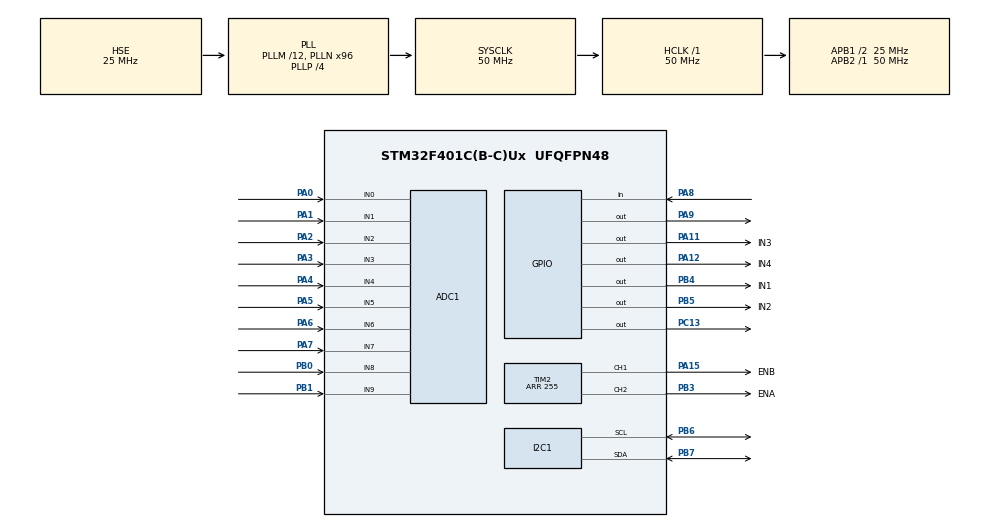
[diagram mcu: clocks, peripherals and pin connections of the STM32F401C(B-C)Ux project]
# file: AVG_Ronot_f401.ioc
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ADC1.Channel-0\#ChannelRegularConversion=ADC_CHANNEL_0
ADC1.Channel-1\#ChannelRegularConversion=ADC_CHANNEL_1
ADC1.Channel-2\#ChannelRegularConversion=ADC_CHANNEL_2
ADC1.Channel-3\#ChannelRegularConversion=ADC_CHANNEL_3
ADC1.Channel-4\#ChannelRegularConversion=ADC_CHANNEL_4
ADC1.Channel-5\#ChannelRegularConversion=ADC_CHANNEL_5
ADC1.Channel-6\#ChannelRegularConversion=ADC_CHANNEL_6
ADC1.Channel-7\#ChannelRegularConversion=ADC_CHANNEL_7
ADC1.Channel-8\#ChannelRegularConversion=ADC_CHANNEL_8
ADC1.Channel-9\#ChannelRegularConversion=ADC_CHANNEL_9
ADC1.ClockPrescaler=ADC_CLOCK_SYNC_PCLK_DIV4
ADC1.ContinuousConvMode=ENABLE
ADC1.DMAContinuousRequests=ENABLE
ADC1.NbrOfConversion=10
ADC1.NbrOfConversionFlag=1
ADC1.Rank-0\#ChannelRegularConversion=1
ADC1.Rank-1\#ChannelRegularConversion=2
ADC1.Rank-2\#ChannelRegularConversion=3
ADC1.Rank-3\#ChannelRegularConversion=4
ADC1.Rank-4\#ChannelRegularConversion=5
ADC1.Rank-5\#ChannelRegularConversion=6
ADC1.Rank-6\#ChannelRegularConversion=7
ADC1.Rank-7\#ChannelRegularConversion=8
ADC1.Rank-8\#ChannelRegularConversion=9
ADC1.Rank-9\#ChannelRegularConversion=10
ADC1.SamplingTime-0\#ChannelRegularConversion=ADC_SAMPLETIME_3CYCLES
ADC1.SamplingTime-1\#ChannelRegularConversion=ADC_SAMPLETIME_3CYCLES
ADC1.SamplingTime-2\#ChannelRegularConversion=ADC_SAMPLETIME_3CYCLES
ADC1.SamplingTime-3\#ChannelRegularConversion=ADC_SAMPLETIME_3CYCLES
ADC1.SamplingTime-4\#ChannelRegularConversion=ADC_SAMPLETIME_3CYCLES
ADC1.SamplingTime-5\#ChannelRegularConversion=ADC_SAMPLETIME_3CYCLES
ADC1.SamplingTime-6\#ChannelRegularConversion=ADC_SAMPLETIME_3CYCLES
ADC1.SamplingTime-7\#ChannelRegularConversion=ADC_SAMPLETIME_3CYCLES
ADC1.SamplingTime-8\#ChannelRegularConversion=ADC_SAMPLETIME_3CYCLES
ADC1.SamplingTime-9\#ChannelRegularConversion=ADC_SAMPLETIME_3CYCLES
ADC1.ScanConvMode=ENABLE
ADC1.master=1
Dma.ADC1.0.Direction=DMA_PERIPH_TO_MEMORY
Dma.ADC1.0.FIFOMode=DMA_FIFOMODE_DISABLE
Dma.ADC1.0.Instance=DMA2_Stream0
Dma.ADC1.0.MemDataAlignment=DMA_MDATAALIGN_HALFWORD
Dma.ADC1.0.MemInc=DMA_MINC_ENABLE
Dma.ADC1.0.Mode=DMA_CIRCULAR
Dma.ADC1.0.PeriphDataAlignment=DMA_PDATAALIGN_HALFWORD
Dma.ADC1.0.PeriphInc=DMA_PINC_DISABLE
Dma.ADC1.0.Priority=DMA_PRIORITY_LOW
Dma.Request0=ADC1
I2C1.I2C_Mode=I2C_Fast
Mcu.Family=STM32F4
Mcu.Name=STM32F401C(B-C)Ux
Mcu.Package=UFQFPN48
NVIC.DMA2_Stream0_IRQn=true\:0\:0\:false\:false\:true\:false\:true\:true
NVIC.PriorityGroup=NVIC_PRIORITYGROUP_4
PA0-WKUP.Signal=ADCx_IN0
PA1.Signal=ADCx_IN1
PA11.GPIO_Label=IN3
PA11.Signal=GPIO_Output
PA12.GPIO_Label=IN4
PA12.Signal=GPIO_Output
PA15.GPIO_Label=ENB
PA15.Signal=S_TIM2_CH1_ETR
PA2.Signal=ADCx_IN2
PA3.Signal=ADCx_IN3
PA4.Signal=ADCx_IN4
PA5.Signal=ADCx_IN5
PA6.Signal=ADCx_IN6
PA7.Signal=ADCx_IN7
PA8.Signal=GPIO_Input
PA9.Signal=GPIO_Output
PB0.Signal=ADCx_IN8
PB1.Signal=ADCx_IN9
PB3.GPIO_Label=ENA
PB3.Signal=S_TIM2_CH2
PB4.GPIO_Label=IN1
PB4.Signal=GPIO_Output
PB5.GPIO_Label=IN2
PB5.Signal=GPIO_Output
PB6.Mode=I2C
PB6.Signal=I2C1_SCL
PB7.Mode=I2C
PB7.Signal=I2C1_SDA
PC13-ANTI_TAMP.Signal=GPIO_Output
PH0\ -\ OSC_IN.Mode=HSE-External-Oscillator
PH0\ -\ OSC_IN.Signal=RCC_OSC_IN
PH1\ -\ OSC_OUT.Mode=HSE-External-Oscillator
PH1\ -\ OSC_OUT.Signal=RCC_OSC_OUT
ProjectManager.HeapSize=0x200
ProjectManager.StackSize=0x400
ProjectManager.TargetToolchain=STM32CubeIDE
RCC.48MHZClocksFreq_Value=50000000
RCC.AHBFreq_Value=50000000
RCC.APB1CLKDivider=RCC_HCLK_DIV2
RCC.APB1Freq_Value=25000000
RCC.APB1TimFreq_Value=50000000
RCC.APB2Freq_Value=50000000
RCC.APB2TimFreq_Value=50000000
RCC.CortexFreq_Value=50000000
RCC.HCLKFreq_Value=50000000
RCC.HSE_VALUE=25000000
RCC.HSI_VALUE=16000000
RCC.LSE_VALUE=32768
RCC.PLLM=12
RCC.PLLN=96
RCC.PLLP=RCC_PLLP_DIV4
RCC.PLLSourceVirtual=RCC_PLLSOURCE_HSE
RCC.SYSCLKFreq_VALUE=50000000
RCC.SYSCLKSource=RCC_SYSCLKSOURCE_PLLCLK
RCC.VCOOutputFreq_Value=200000000
SH.ADCx_IN0.0=ADC1_IN0,IN0
SH.ADCx_IN1.0=ADC1_IN1,IN1
SH.ADCx_IN2.0=ADC1_IN2,IN2
SH.ADCx_IN3.0=ADC1_IN3,IN3
SH.ADCx_IN4.0=ADC1_IN4,IN4
SH.ADCx_IN5.0=ADC1_IN5,IN5
SH.ADCx_IN6.0=ADC1_IN6,IN6
SH.ADCx_IN7.0=ADC1_IN7,IN7
SH.ADCx_IN8.0=ADC1_IN8,IN8
SH.ADCx_IN9.0=ADC1_IN9,IN9
SH.S_TIM2_CH1_ETR.0=TIM2_CH1,PWM Generation1 CH1
SH.S_TIM2_CH2.0=TIM2_CH2,PWM Generation2 CH2
TIM1.Prescaler=49
TIM2.AutoReloadPreload=TIM_AUTORELOAD_PRELOAD_ENABLE
TIM2.Channel-PWM\ Generation1\ CH1=TIM_CHANNEL_1
TIM2.Channel-PWM\ Generation2\ CH2=TIM_CHANNEL_2
TIM2.Period=255
VP_TIM1_VS_ClockSourceINT.Mode=Internal
VP_TIM2_VS_ClockSourceINT.Mode=Internal
board=custom

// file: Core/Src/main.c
/* USER CODE BEGIN Header */
/**
  ******************************************************************************
  * @file           : main.c
  * @brief          : Main program body
  ******************************************************************************
  * @attention
  *
  * Copyright (c) 2023 STMicroelectronics.
  * All rights reserved.
  *
  * This software is licensed under terms that can be found in the LICENSE file
  * in the root directory of this software component.
  * If no LICENSE file comes with this software, it is provided AS-IS.
  *
  ******************************************************************************
  */
/* USER CODE END Header */
#include "main.h"

/* USER CODE BEGIN Includes */
#include "string.h"
#include "ssd1306.h"
#include "fonts.h"
#include "test.h"
/* USER CODE END Includes */

ADC_HandleTypeDef hadc1;
DMA_HandleTypeDef hdma_adc1;

I2C_HandleTypeDef hi2c1;

TIM_HandleTypeDef htim1;
TIM_HandleTypeDef htim2;

/* USER CODE BEGIN PV */
volatile uint16_t sensorValuesDMA[10];
const int sensorValuesDMA_ChannelCount = sizeof(sensorValuesDMA)/sizeof(sensorValuesDMA[0]);

uint16_t max_sensor_val[10];
uint16_t min_sensor_val[10];

const uint8_t sensorNumber = 10;
uint16_t sensorCalibratedValues[10];

int _lastValue;
uint16_t lineValue;

uint8_t baseSpeed = 150;
int P, I, D;

float Kp = 0.05;
float Ki = 0.00001;
float Kd = 0.8;

int motorCheckSpeedA;
int motorCheckSpeedB;

int lastError = 0;

#define TRIG_PIN GPIO_PIN_9
#define TRIG_PORT GPIOA
#define ECHO_PIN GPIO_PIN_8
#define ECHO_PORT GPIOA
uint32_t pMillis;
uint32_t Value1 = 0;
uint32_t Value2 = 0;
uint16_t Distance  = 0;  // cm

/* USER CODE END PV */

void SystemClock_Config(void);
static void MX_GPIO_Init(void);
static void MX_DMA_Init(void);
static void MX_ADC1_Init(void);
static void MX_TIM2_Init(void);
static void MX_TIM1_Init(void);
static void MX_I2C1_Init(void);

/* USER CODE BEGIN 0 */
uint8_t commandBuffer[64];

uint8_t irSensorTxBuffer[130];
uint8_t lcd_text_buffer[50];
uint16_t lcd_buffer_length;

int lengthIrSensorTxBuffer;

void sensorCalibration(volatile uint16_t *sensor_values,
				  	   uint16_t *sensor_max_values,
					   uint16_t *sensor_min_values,
					   uint8_t   sensor_numbers,
					   uint16_t  cycle){
	int i;
	uint16_t max_temp_sensor_val[10];
	uint16_t min_temp_sensor_val[10];

	for(int a = 0; a < sensor_numbers; a++){
		max_temp_sensor_val[a] = 0;
		min_temp_sensor_val[a] = 4096;

	}

	int j;
	for(j = 0; j< cycle ;j++){
		for(i = 0; i< sensor_numbers; i++){
			if(j==0 || max_temp_sensor_val[i] < sensor_values[i]){
				max_temp_sensor_val[i] = sensor_values[i];
			}

			if(j==0 || min_temp_sensor_val[i] > sensor_values[i]){
				min_temp_sensor_val[i] = sensor_values[i];
			}
		}
	}

	for(i = 0; i < sensor_numbers; i++){
		if(min_temp_sensor_val[i] > sensor_max_values[i]){
			sensor_max_values[i] = min_temp_sensor_val[i];
		}
		if(max_temp_sensor_val[i] < sensor_min_values[i]){
			sensor_min_values[i] = max_temp_sensor_val[i];
		}
	}

}

int map(int x, int in_min, int in_max, int out_min, int out_max)
{
  return (x - in_min) * (out_max - out_min) / (in_max - in_min) + out_min;
}

void readCalibrated(volatile uint16_t *sensor_values,
					uint16_t *sensor_calibrated_values,
					uint16_t *sensor_max_values,
					uint16_t *sensor_min_values,
					uint8_t   sensor_numbers){
	int i;

	for(i = 0; i < sensor_numbers; i++){
		uint16_t calmin, calmax;
		uint16_t denominator;

		calmax = sensor_max_values[i];
		calmin = sensor_min_values[i];

		denominator = calmax - calmin;

		signed int x = 0;
		if(denominator != 0){
			x = (((signed long)sensor_values[i]) - calmin) * 1000/denominator;

		}

		if(x < 0){
			x = 0;
		}
		else if(x>1000){
			x = 1000;
		}

		sensor_calibrated_values[i] = x;
	}

}

int read_ir_line(volatile uint16_t *sensor_values,
				 uint16_t *sensor_calibrated_values,
				 uint16_t *sensor_max_values,
				 uint16_t *sensor_min_values,
				 uint8_t   sensor_numbers,
				 uint8_t   white_line){
	uint8_t i, on_line = 0;
	unsigned long avg;
	unsigned int sum;

	readCalibrated(sensor_values,
			  	   sensor_calibrated_values,
				   sensor_max_values,
				   sensor_min_values,
				   sensor_numbers);

	avg = 0;
	sum = 0;

	for(i = 0; i < sensor_numbers; i++){
		int value = sensor_calibrated_values[i];
		if(white_line){
			value = 1000-value;
		}

		if(value > 400){
			on_line = 1;
		}

		if(value > 50){
			avg += (long)(value) * (i * 1000);
			sum += value;
		}
	}

	if(!on_line){
		if(_lastValue < (sensor_numbers - 1) * 1000/2){
			return 0;
		}
		else{
			return (sensor_numbers - 1)*1000;
		}
	}

	_lastValue = avg/sum;

	return _lastValue;

}

void PID_control(volatile uint16_t *sensor_values,
						  uint16_t *sensor_calibrated_values,
						  uint16_t *sensor_max_values,
						  uint16_t *sensor_min_values,
						  uint8_t   sensor_numbers,
						  uint8_t   white_line,
						  int mSpeedA,
						  int mSpeedB){

	lineValue = read_ir_line(sensor_values, sensor_calibrated_values, sensor_max_values, sensor_min_values, sensor_numbers, white_line);
	int error = 4500 - lineValue;

	P = error;
	I = error + I;
	D = error - lastError;
	lastError = error;

	int motorSpeedChange = P*Kp + I*Ki + D*Kd;

	int motorSpeedA = baseSpeed + motorSpeedChange;
	int motorSpeedB = baseSpeed - motorSpeedChange;
	mSpeedA = motorSpeedA;
	mSpeedB = motorSpeedB;

	motor_forward(motorSpeedA, motorSpeedB);

}

void motor_forward(int enableA, int enableB){

	if(enableA < 0){
		enableA = 0;
	}
	if(enableA > 255){
		enableA = 255;
	}
	if(enableB < 0){
		enableB = 0;
	}
	if(enableB > 255){
		enableB = 255;
	}

	//LEFT
	HAL_GPIO_WritePin(IN1_GPIO_Port, IN1_Pin, GPIO_PIN_RESET);
	HAL_GPIO_WritePin(IN2_GPIO_Port, IN2_Pin, GPIO_PIN_SET);

	//RIGHT
	HAL_GPIO_WritePin(IN3_GPIO_Port, IN3_Pin, GPIO_PIN_RESET);
	HAL_GPIO_WritePin(IN4_GPIO_Port, IN4_Pin, GPIO_PIN_SET);

	//Right
	__HAL_TIM_SET_COMPARE(&htim2, TIM_CHANNEL_1, enableA);

	//Left
	__HAL_TIM_SET_COMPARE(&htim2, TIM_CHANNEL_2, enableB);
}

void motor_sharp_left(uint8_t speed){
	//LEFT
	HAL_GPIO_WritePin(IN1_GPIO_Port, IN1_Pin, GPIO_PIN_SET);
	HAL_GPIO_WritePin(IN2_GPIO_Port, IN2_Pin, GPIO_PIN_RESET);

	//RIGHT
	HAL_GPIO_WritePin(IN3_GPIO_Port, IN3_Pin, GPIO_PIN_RESET);
	HAL_GPIO_WritePin(IN4_GPIO_Port, IN4_Pin, GPIO_PIN_SET);

	//Right
	__HAL_TIM_SET_COMPARE(&htim2, TIM_CHANNEL_1, speed);

	//Left
	__HAL_TIM_SET_COMPARE(&htim2, TIM_CHANNEL_2, speed);
}

void motor_sharp_right(uint8_t speed){
	//LEFT
	HAL_GPIO_WritePin(IN1_GPIO_Port, IN1_Pin, GPIO_PIN_RESET);
	HAL_GPIO_WritePin(IN2_GPIO_Port, IN2_Pin, GPIO_PIN_SET);

	//RIGHT
	HAL_GPIO_WritePin(IN3_GPIO_Port, IN3_Pin, GPIO_PIN_SET);
	HAL_GPIO_WritePin(IN4_GPIO_Port, IN4_Pin, GPIO_PIN_RESET);

	//Right
	__HAL_TIM_SET_COMPARE(&htim2, TIM_CHANNEL_1, speed);

	//Left
	__HAL_TIM_SET_COMPARE(&htim2, TIM_CHANNEL_2, speed);
}

void calibrationSequence(){

	 HAL_GPIO_WritePin(GPIOC, GPIO_PIN_13, GPIO_PIN_RESET);
	 for(int a = 0; a<100; a++){
		  sensorCalibration(sensorValuesDMA,
							max_sensor_val,
							min_sensor_val,
							sensorNumber, 10);

		  if(a >= 0 && a < 25){
			  motor_sharp_right(120);
		  }
		  if(a >= 25 && a < 50){
			  motor_sharp_left(120);
		  }
		  if(a >= 50 && a < 75){
			  motor_sharp_right(120);
		  }
		  if(a >= 75 && a < 100){
			  motor_sharp_left(120);
		  }
		  HAL_Delay(50);
	 }
	 //readCalibrated(sensorValuesDMA, sensorCalibratedValues, max_sensor_val, min_sensor_val, sensorNumber);
	 while(sensorValuesDMA[4] > 2500){
		  motor_sharp_right(100);
	 }
	 HAL_GPIO_WritePin(GPIOC, GPIO_PIN_13, GPIO_PIN_SET);
}

/* USER CODE END 0 */

int main(void)
{

  /* MCU Configuration--------------------------------------------------------*/

  /* Reset of all peripherals, Initializes the Flash interface and the Systick. */
  HAL_Init();

  /* Configure the system clock */
  SystemClock_Config();

  /* Initialize all configured peripherals */
  MX_GPIO_Init();
  MX_DMA_Init();
  MX_ADC1_Init();
  MX_TIM2_Init();
  MX_TIM1_Init();
  MX_I2C1_Init();
  /* USER CODE BEGIN 2 */

  SSD1306_Init();

  HAL_TIM_PWM_Start(&htim2, TIM_CHANNEL_1);
  HAL_TIM_PWM_Start(&htim2, TIM_CHANNEL_2);

  HAL_ADC_Start_DMA(&hadc1, (uint16_t*)sensorValuesDMA, sensorValuesDMA_ChannelCount);

  HAL_TIM_Base_Start(&htim1);
  HAL_GPIO_WritePin(TRIG_PORT, TRIG_PIN, GPIO_PIN_RESET);  // pull the TRIG pin low

  //calibrationSequence();
  /* USER CODE END 2 */

  /* Infinite loop */
  /* USER CODE BEGIN WHILE */
  uint8_t test_str[60];
  while (1)
  {
	  HAL_GPIO_WritePin(TRIG_PORT, TRIG_PIN, GPIO_PIN_SET);  // pull the TRIG pin HIGH
	  __HAL_TIM_SET_COUNTER(&htim1, 0);
	  while (__HAL_TIM_GET_COUNTER (&htim1) < 10);  // wait for 10 us
	  HAL_GPIO_WritePin(TRIG_PORT, TRIG_PIN, GPIO_PIN_RESET);  // pull the TRIG pin low

	  pMillis = HAL_GetTick(); // used this to avoid infinite while loop  (for timeout)
	  // wait for the echo pin to go high
	  while (!(HAL_GPIO_ReadPin (ECHO_PORT, ECHO_PIN)) && pMillis + 10 >  HAL_GetTick());
	  Value1 = __HAL_TIM_GET_COUNTER (&htim1);

	  pMillis = HAL_GetTick(); // used this to avoid infinite while loop (for timeout)
	  // wait for the echo pin to go low
	  while ((HAL_GPIO_ReadPin (ECHO_PORT, ECHO_PIN)) && pMillis + 50 > HAL_GetTick());
	  Value2 = __HAL_TIM_GET_COUNTER (&htim1);

	  Distance = (Value2-Value1)* 0.034/2;

	  SSD1306_Fill(0);
	  sprintf(test_str, "Dis: %dcm", Distance);
	  SSD1306_GotoXY (10,10); // goto 10, 10
	  SSD1306_Puts (test_str, &Font_11x18, 1); // print Hello
	  SSD1306_UpdateScreen(); // update screen

	  HAL_Delay(50);

    /* USER CODE END WHILE */

  }
}

void SystemClock_Config(void)
{
  RCC_OscInitTypeDef RCC_OscInitStruct = {0};
  RCC_ClkInitTypeDef RCC_ClkInitStruct = {0};

  /** Configure the main internal regulator output voltage
  */
  __HAL_RCC_PWR_CLK_ENABLE();
  __HAL_PWR_VOLTAGESCALING_CONFIG(PWR_REGULATOR_VOLTAGE_SCALE2);

  /** Initializes the RCC Oscillators according to the specified parameters
  * in the RCC_OscInitTypeDef structure.
  */
  RCC_OscInitStruct.OscillatorType = RCC_OSCILLATORTYPE_HSE;
  RCC_OscInitStruct.HSEState = RCC_HSE_ON;
  RCC_OscInitStruct.PLL.PLLState = RCC_PLL_ON;
  RCC_OscInitStruct.PLL.PLLSource = RCC_PLLSOURCE_HSE;
  RCC_OscInitStruct.PLL.PLLM = 12;
  RCC_OscInitStruct.PLL.PLLN = 96;
  RCC_OscInitStruct.PLL.PLLP = RCC_PLLP_DIV4;
  RCC_OscInitStruct.PLL.PLLQ = 4;
  if (HAL_RCC_OscConfig(&RCC_OscInitStruct) != HAL_OK)
  {
    Error_Handler();
  }

  /** Initializes the CPU, AHB and APB buses clocks
  */
  RCC_ClkInitStruct.ClockType = RCC_CLOCKTYPE_HCLK|RCC_CLOCKTYPE_SYSCLK
                              |RCC_CLOCKTYPE_PCLK1|RCC_CLOCKTYPE_PCLK2;
  RCC_ClkInitStruct.SYSCLKSource = RCC_SYSCLKSOURCE_PLLCLK;
  RCC_ClkInitStruct.AHBCLKDivider = RCC_SYSCLK_DIV1;
  RCC_ClkInitStruct.APB1CLKDivider = RCC_HCLK_DIV2;
  RCC_ClkInitStruct.APB2CLKDivider = RCC_HCLK_DIV1;

  if (HAL_RCC_ClockConfig(&RCC_ClkInitStruct, FLASH_LATENCY_1) != HAL_OK)
  {
    Error_Handler();
  }
}

static void MX_ADC1_Init(void)
{

  ADC_ChannelConfTypeDef sConfig = {0};

  /** Configure the global features of the ADC (Clock, Resolution, Data Alignment and number of conversion)
  */
  hadc1.Instance = ADC1;
  hadc1.Init.ClockPrescaler = ADC_CLOCK_SYNC_PCLK_DIV4;
  hadc1.Init.Resolution = ADC_RESOLUTION_12B;
  hadc1.Init.ScanConvMode = ENABLE;
  hadc1.Init.ContinuousConvMode = ENABLE;
  hadc1.Init.DiscontinuousConvMode = DISABLE;
  hadc1.Init.ExternalTrigConvEdge = ADC_EXTERNALTRIGCONVEDGE_NONE;
  hadc1.Init.ExternalTrigConv = ADC_SOFTWARE_START;
  hadc1.Init.DataAlign = ADC_DATAALIGN_RIGHT;
  hadc1.Init.NbrOfConversion = 10;
  hadc1.Init.DMAContinuousRequests = ENABLE;
  hadc1.Init.EOCSelection = ADC_EOC_SINGLE_CONV;
  if (HAL_ADC_Init(&hadc1) != HAL_OK)
  {
    Error_Handler();
  }

  /** Configure for the selected ADC regular channel its corresponding rank in the sequencer and its sample time.
  */
  sConfig.Channel = ADC_CHANNEL_0;
  sConfig.Rank = 1;
  sConfig.SamplingTime = ADC_SAMPLETIME_3CYCLES;
  if (HAL_ADC_ConfigChannel(&hadc1, &sConfig) != HAL_OK)
  {
    Error_Handler();
  }

  /** Configure for the selected ADC regular channel its corresponding rank in the sequencer and its sample time.
  */
  sConfig.Channel = ADC_CHANNEL_1;
  sConfig.Rank = 2;
  if (HAL_ADC_ConfigChannel(&hadc1, &sConfig) != HAL_OK)
  {
    Error_Handler();
  }

  /** Configure for the selected ADC regular channel its corresponding rank in the sequencer and its sample time.
  */
  sConfig.Channel = ADC_CHANNEL_2;
  sConfig.Rank = 3;
  if (HAL_ADC_ConfigChannel(&hadc1, &sConfig) != HAL_OK)
  {
    Error_Handler();
  }

  /** Configure for the selected ADC regular channel its corresponding rank in the sequencer and its sample time.
  */
  sConfig.Channel = ADC_CHANNEL_3;
  sConfig.Rank = 4;
  if (HAL_ADC_ConfigChannel(&hadc1, &sConfig) != HAL_OK)
  {
    Error_Handler();
  }

  /** Configure for the selected ADC regular channel its corresponding rank in the sequencer and its sample time.
  */
  sConfig.Channel = ADC_CHANNEL_4;
  sConfig.Rank = 5;
  if (HAL_ADC_ConfigChannel(&hadc1, &sConfig) != HAL_OK)
  {
    Error_Handler();
  }

  /** Configure for the selected ADC regular channel its corresponding rank in the sequencer and its sample time.
  */
  sConfig.Channel = ADC_CHANNEL_5;
  sConfig.Rank = 6;
  if (HAL_ADC_ConfigChannel(&hadc1, &sConfig) != HAL_OK)
  {
    Error_Handler();
  }

  /** Configure for the selected ADC regular channel its corresponding rank in the sequencer and its sample time.
  */
  sConfig.Channel = ADC_CHANNEL_6;
  sConfig.Rank = 7;
  if (HAL_ADC_ConfigChannel(&hadc1, &sConfig) != HAL_OK)
  {
    Error_Handler();
  }

  /** Configure for the selected ADC regular channel its corresponding rank in the sequencer and its sample time.
  */
  sConfig.Channel = ADC_CHANNEL_7;
  sConfig.Rank = 8;
  if (HAL_ADC_ConfigChannel(&hadc1, &sConfig) != HAL_OK)
  {
    Error_Handler();
  }

  /** Configure for the selected ADC regular channel its corresponding rank in the sequencer and its sample time.
  */
  sConfig.Channel = ADC_CHANNEL_8;
  sConfig.Rank = 9;
  if (HAL_ADC_ConfigChannel(&hadc1, &sConfig) != HAL_OK)
  {
    Error_Handler();
  }

  /** Configure for the selected ADC regular channel its corresponding rank in the sequencer and its sample time.
  */
  sConfig.Channel = ADC_CHANNEL_9;
  sConfig.Rank = 10;
  if (HAL_ADC_ConfigChannel(&hadc1, &sConfig) != HAL_OK)
  {
    Error_Handler();
  }

}

static void MX_I2C1_Init(void)
{

  hi2c1.Instance = I2C1;
  hi2c1.Init.ClockSpeed = 400000;
  hi2c1.Init.DutyCycle = I2C_DUTYCYCLE_2;
  hi2c1.Init.OwnAddress1 = 0;
  hi2c1.Init.AddressingMode = I2C_ADDRESSINGMODE_7BIT;
  hi2c1.Init.DualAddressMode = I2C_DUALADDRESS_DISABLE;
  hi2c1.Init.OwnAddress2 = 0;
  hi2c1.Init.GeneralCallMode = I2C_GENERALCALL_DISABLE;
  hi2c1.Init.NoStretchMode = I2C_NOSTRETCH_DISABLE;
  if (HAL_I2C_Init(&hi2c1) != HAL_OK)
  {
    Error_Handler();
  }

}

static void MX_TIM1_Init(void)
{

  TIM_ClockConfigTypeDef sClockSourceConfig = {0};
  TIM_MasterConfigTypeDef sMasterConfig = {0};

  htim1.Instance = TIM1;
  htim1.Init.Prescaler = 49;
  htim1.Init.CounterMode = TIM_COUNTERMODE_UP;
  htim1.Init.Period = 65535;
  htim1.Init.ClockDivision = TIM_CLOCKDIVISION_DIV1;
  htim1.Init.RepetitionCounter = 0;
  htim1.Init.AutoReloadPreload = TIM_AUTORELOAD_PRELOAD_DISABLE;
  if (HAL_TIM_Base_Init(&htim1) != HAL_OK)
  {
    Error_Handler();
  }
  sClockSourceConfig.ClockSource = TIM_CLOCKSOURCE_INTERNAL;
  if (HAL_TIM_ConfigClockSource(&htim1, &sClockSourceConfig) != HAL_OK)
  {
    Error_Handler();
  }
  sMasterConfig.MasterOutputTrigger = TIM_TRGO_RESET;
  sMasterConfig.MasterSlaveMode = TIM_MASTERSLAVEMODE_DISABLE;
  if (HAL_TIMEx_MasterConfigSynchronization(&htim1, &sMasterConfig) != HAL_OK)
  {
    Error_Handler();
  }

}

static void MX_TIM2_Init(void)
{

  TIM_ClockConfigTypeDef sClockSourceConfig = {0};
  TIM_MasterConfigTypeDef sMasterConfig = {0};
  TIM_OC_InitTypeDef sConfigOC = {0};

  htim2.Instance = TIM2;
  htim2.Init.Prescaler = 0;
  htim2.Init.CounterMode = TIM_COUNTERMODE_UP;
  htim2.Init.Period = 255;
  htim2.Init.ClockDivision = TIM_CLOCKDIVISION_DIV1;
  htim2.Init.AutoReloadPreload = TIM_AUTORELOAD_PRELOAD_ENABLE;
  if (HAL_TIM_Base_Init(&htim2) != HAL_OK)
  {
    Error_Handler();
  }
  sClockSourceConfig.ClockSource = TIM_CLOCKSOURCE_INTERNAL;
  if (HAL_TIM_ConfigClockSource(&htim2, &sClockSourceConfig) != HAL_OK)
  {
    Error_Handler();
  }
  if (HAL_TIM_PWM_Init(&htim2) != HAL_OK)
  {
    Error_Handler();
  }
  sMasterConfig.MasterOutputTrigger = TIM_TRGO_RESET;
  sMasterConfig.MasterSlaveMode = TIM_MASTERSLAVEMODE_DISABLE;
  if (HAL_TIMEx_MasterConfigSynchronization(&htim2, &sMasterConfig) != HAL_OK)
  {
    Error_Handler();
  }
  sConfigOC.OCMode = TIM_OCMODE_PWM1;
  sConfigOC.Pulse = 0;
  sConfigOC.OCPolarity = TIM_OCPOLARITY_HIGH;
  sConfigOC.OCFastMode = TIM_OCFAST_DISABLE;
  if (HAL_TIM_PWM_ConfigChannel(&htim2, &sConfigOC, TIM_CHANNEL_1) != HAL_OK)
  {
    Error_Handler();
  }
  if (HAL_TIM_PWM_ConfigChannel(&htim2, &sConfigOC, TIM_CHANNEL_2) != HAL_OK)
  {
    Error_Handler();
  }
  HAL_TIM_MspPostInit(&htim2);

}

static void MX_DMA_Init(void)
{

  /* DMA controller clock enable */
  __HAL_RCC_DMA2_CLK_ENABLE();

  /* DMA interrupt init */
  /* DMA2_Stream0_IRQn interrupt configuration */
  HAL_NVIC_SetPriority(DMA2_Stream0_IRQn, 0, 0);
  HAL_NVIC_EnableIRQ(DMA2_Stream0_IRQn);

}

static void MX_GPIO_Init(void)
{
  GPIO_InitTypeDef GPIO_InitStruct = {0};

  /* GPIO Ports Clock Enable */
  __HAL_RCC_GPIOC_CLK_ENABLE();
  __HAL_RCC_GPIOH_CLK_ENABLE();
  __HAL_RCC_GPIOA_CLK_ENABLE();
  __HAL_RCC_GPIOB_CLK_ENABLE();

  /*Configure GPIO pin Output Level */
  HAL_GPIO_WritePin(GPIOC, GPIO_PIN_13, GPIO_PIN_RESET);

  /*Configure GPIO pin Output Level */
  HAL_GPIO_WritePin(GPIOA, GPIO_PIN_9|IN3_Pin|IN4_Pin, GPIO_PIN_RESET);

  /*Configure GPIO pin Output Level */
  HAL_GPIO_WritePin(GPIOB, IN1_Pin|IN2_Pin, GPIO_PIN_RESET);

  /*Configure GPIO pin : PC13 */
  GPIO_InitStruct.Pin = GPIO_PIN_13;
  GPIO_InitStruct.Mode = GPIO_MODE_OUTPUT_PP;
  GPIO_InitStruct.Pull = GPIO_NOPULL;
  GPIO_InitStruct.Speed = GPIO_SPEED_FREQ_LOW;
  HAL_GPIO_Init(GPIOC, &GPIO_InitStruct);

  /*Configure GPIO pin : PA8 */
  GPIO_InitStruct.Pin = GPIO_PIN_8;
  GPIO_InitStruct.Mode = GPIO_MODE_INPUT;
  GPIO_InitStruct.Pull = GPIO_NOPULL;
  HAL_GPIO_Init(GPIOA, &GPIO_InitStruct);

  /*Configure GPIO pins : PA9 IN3_Pin IN4_Pin */
  GPIO_InitStruct.Pin = GPIO_PIN_9|IN3_Pin|IN4_Pin;
  GPIO_InitStruct.Mode = GPIO_MODE_OUTPUT_PP;
  GPIO_InitStruct.Pull = GPIO_NOPULL;
  GPIO_InitStruct.Speed = GPIO_SPEED_FREQ_LOW;
  HAL_GPIO_Init(GPIOA, &GPIO_InitStruct);

  /*Configure GPIO pins : IN1_Pin IN2_Pin */
  GPIO_InitStruct.Pin = IN1_Pin|IN2_Pin;
  GPIO_InitStruct.Mode = GPIO_MODE_OUTPUT_PP;
  GPIO_InitStruct.Pull = GPIO_NOPULL;
  GPIO_InitStruct.Speed = GPIO_SPEED_FREQ_LOW;
  HAL_GPIO_Init(GPIOB, &GPIO_InitStruct);

}

void Error_Handler(void)
{
  __disable_irq();
  while (1)
  {
  }
}
